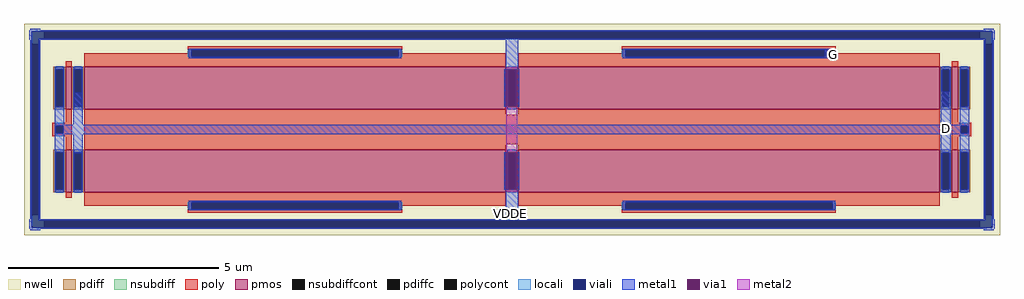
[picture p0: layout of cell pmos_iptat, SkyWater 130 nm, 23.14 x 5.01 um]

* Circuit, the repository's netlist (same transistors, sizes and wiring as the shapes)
** sch_path: /home/gilang_fajrul/chipalooza/sky130_gff_ip__bgr_1.2v/magic/pmos_iptat.sch
.subckt pmos_iptat VDDE G D
*.PININFO D:B G:B VDDE:B
XM5 D G VDDE vdde sky130_fd_pr__pfet_01v8 L=10 W=1 nf=1 m=4
XM1 D D D vdde sky130_fd_pr__pfet_01v8 L=0.15 W=1 nf=1 m=4
.ends
.end

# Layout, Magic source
magic
tech sky130A
magscale 1 2
<< nwell >>
rect -191 -104 4438 898
<< nsubdiff >>
rect -155 828 -95 862
rect 4342 828 4402 862
rect -155 802 -121 828
rect 4368 802 4402 828
rect -155 -34 -121 -8
rect 4368 -34 4402 -8
rect -155 -68 -95 -34
rect 4342 -68 4402 -34
<< nsubdiffcont >>
rect -95 828 4342 862
rect -155 -8 -121 802
rect 4368 -8 4402 802
rect -95 -68 4342 -34
<< poly >>
rect 6 430 36 482
rect -56 414 36 430
rect -56 380 -40 414
rect -6 380 36 414
rect -56 364 36 380
rect 6 320 36 364
rect 94 326 4152 468
rect 4210 430 4240 477
rect 4210 414 4302 430
rect 4210 380 4252 414
rect 4286 380 4302 414
rect 4210 364 4302 380
rect 4210 307 4240 364
<< polycont >>
rect -40 380 -6 414
rect 4252 380 4286 414
<< locali >>
rect -40 414 -6 430
rect -40 364 -6 380
rect 4252 414 4286 430
rect 4252 364 4286 380
<< viali >>
rect -155 828 -95 862
rect -95 828 4342 862
rect 4342 828 4402 862
rect -155 802 -121 828
rect -155 -8 -121 802
rect 4368 802 4402 828
rect -40 380 -6 414
rect 4252 380 4286 414
rect -155 -34 -121 -8
rect 4368 -8 4402 802
rect 4368 -34 4402 -8
rect -155 -68 -95 -34
rect -95 -68 4342 -34
rect 4342 -68 4402 -34
<< metal1 >>
rect -161 868 -115 874
rect 4362 868 4408 874
rect -167 862 4414 868
rect -167 822 -155 862
rect -161 -28 -155 822
rect -167 -68 -155 -28
rect -121 822 4368 828
rect -121 -28 -115 822
rect 2094 682 2152 822
rect 3606 735 3656 780
rect -46 420 0 504
rect 42 420 88 572
rect 2087 506 2097 682
rect 2149 506 2159 682
rect 4158 420 4204 575
rect 4246 420 4292 504
rect -46 414 4292 420
rect -46 380 -40 414
rect -6 380 4252 414
rect 4286 380 4292 414
rect -46 374 4292 380
rect -46 295 0 374
rect 42 284 88 374
rect 2087 112 2097 288
rect 2149 112 2159 288
rect 4158 287 4204 374
rect 4246 290 4292 374
rect 2094 -28 2152 112
rect 4362 -28 4368 822
rect -121 -34 4368 -28
rect 4402 822 4414 862
rect 4402 -28 4408 822
rect 4402 -68 4414 -28
rect -167 -74 4414 -68
rect -161 -80 -115 -74
rect 4362 -80 4408 -74
<< via1 >>
rect 2097 506 2149 682
rect 2097 112 2149 288
<< metal2 >>
rect 2097 682 2149 692
rect 2097 288 2149 506
rect 2097 102 2149 112
use sky130_fd_pr__pfet_01v8_2XUZHN  sky130_fd_pr__pfet_01v8_2XUZHN_0
transform 1 0 21 0 1 200
box -109 -162 109 162
use sky130_fd_pr__pfet_01v8_2XUZHN  sky130_fd_pr__pfet_01v8_2XUZHN_2
transform 1 0 4225 0 1 594
box -109 -162 109 162
use sky130_fd_pr__pfet_01v8_2XUZHN  sky130_fd_pr__pfet_01v8_2XUZHN_3
transform 1 0 21 0 1 594
box -109 -162 109 162
use sky130_fd_pr__pfet_01v8_2XUZHN  sky130_fd_pr__pfet_01v8_2XUZHN_4
transform 1 0 4225 0 1 200
box -109 -162 109 162
use sky130_fd_pr__pfet_01v8_8RMJP2  sky130_fd_pr__pfet_01v8_8RMJP2_0
transform 1 0 2123 0 1 630
box -2123 -198 2123 164
use sky130_fd_pr__pfet_01v8_CVRJBD  sky130_fd_pr__pfet_01v8_CVRJBD_1
transform 1 0 2123 0 1 164
box -2123 -164 2123 198
<< labels >>
flabel metal1 2118 -1 2118 -1 0 FreeSans 1600 0 0 0 VDDE
port 0 nsew
flabel metal1 4183 403 4183 403 0 FreeSans 1600 0 0 0 D
port 1 nsew
flabel metal1 3650 753 3650 753 0 FreeSans 1600 0 0 0 G
port 2 nsew
<< end >>

# cell sky130_fd_pr__pfet_01v8_2XUZHN: kit device sky130_fd_pr__pfet_01v8, w 1 l 0.15 m 1 nf 1 diffcov 100 polycov 100 guard 0 glc 1 grc 1 gtc 1 gbc 1 tbcov 100 rlcov 100 topc 0 botc 0 poverlap 0 doverlap 1 lmin 0.15 wmin 0.42 compatible {sky130_fd_pr__pfet_01v8 sky130_fd_pr__pfet_01v8_lvt sky130_fd_pr__pfet_01v8_hvt sky130_fd_pr__pfet_g5v0d10v5} full_metal 1 viasrc 100 viadrn 100 viagate 100 viagb 0 viagr 0 viagl 0 viagt 0

# cell sky130_fd_pr__pfet_01v8_8RMJP2: kit device sky130_fd_pr__pfet_01v8, w 1 l 10 m 1 nf 2 diffcov 100 polycov 50 guard 0 glc 1 grc 1 gtc 1 gbc 1 tbcov 100 rlcov 100 topc 1 botc 0 poverlap 0 doverlap 1 lmin 0.15 wmin 0.42 compatible {sky130_fd_pr__pfet_01v8 sky130_fd_pr__pfet_01v8_lvt sky130_fd_pr__pfet_01v8_hvt sky130_fd_pr__pfet_g5v0d10v5} full_metal 1 viasrc 100 viadrn 100 viagate 50 viagb 0 viagr 0 viagl 0 viagt 0

# cell sky130_fd_pr__pfet_01v8_CVRJBD: kit device sky130_fd_pr__pfet_01v8, w 1 l 10 m 1 nf 2 diffcov 100 polycov 50 guard 0 glc 1 grc 1 gtc 1 gbc 1 tbcov 100 rlcov 100 topc 0 botc 1 poverlap 0 doverlap 1 lmin 0.15 wmin 0.42 compatible {sky130_fd_pr__pfet_01v8 sky130_fd_pr__pfet_01v8_lvt sky130_fd_pr__pfet_01v8_hvt sky130_fd_pr__pfet_g5v0d10v5} full_metal 1 viasrc 100 viadrn 100 viagate 50 viagb 0 viagr 0 viagl 0 viagt 0
